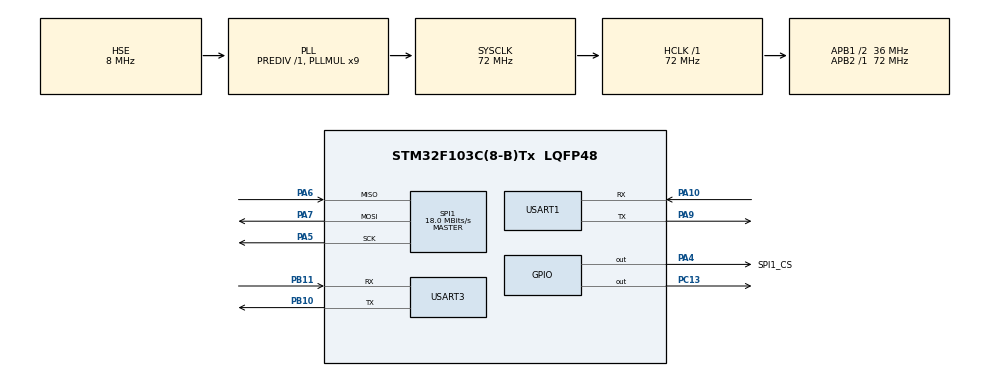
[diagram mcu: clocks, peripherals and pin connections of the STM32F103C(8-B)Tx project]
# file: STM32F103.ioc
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Dma.Request0=USART1_RX
Dma.Request1=USART3_RX
Dma.Request2=USART3_TX
Dma.USART1_RX.0.Direction=DMA_PERIPH_TO_MEMORY
Dma.USART1_RX.0.Instance=DMA1_Channel5
Dma.USART1_RX.0.MemDataAlignment=DMA_MDATAALIGN_BYTE
Dma.USART1_RX.0.MemInc=DMA_MINC_ENABLE
Dma.USART1_RX.0.Mode=DMA_NORMAL
Dma.USART1_RX.0.PeriphDataAlignment=DMA_PDATAALIGN_BYTE
Dma.USART1_RX.0.PeriphInc=DMA_PINC_DISABLE
Dma.USART1_RX.0.Priority=DMA_PRIORITY_HIGH
Dma.USART3_RX.1.Direction=DMA_PERIPH_TO_MEMORY
Dma.USART3_RX.1.Instance=DMA1_Channel3
Dma.USART3_RX.1.MemDataAlignment=DMA_MDATAALIGN_BYTE
Dma.USART3_RX.1.MemInc=DMA_MINC_ENABLE
Dma.USART3_RX.1.Mode=DMA_NORMAL
Dma.USART3_RX.1.PeriphDataAlignment=DMA_PDATAALIGN_BYTE
Dma.USART3_RX.1.PeriphInc=DMA_PINC_DISABLE
Dma.USART3_RX.1.Priority=DMA_PRIORITY_LOW
Dma.USART3_TX.2.Direction=DMA_MEMORY_TO_PERIPH
Dma.USART3_TX.2.Instance=DMA1_Channel2
Dma.USART3_TX.2.MemDataAlignment=DMA_MDATAALIGN_BYTE
Dma.USART3_TX.2.MemInc=DMA_MINC_ENABLE
Dma.USART3_TX.2.Mode=DMA_NORMAL
Dma.USART3_TX.2.PeriphDataAlignment=DMA_PDATAALIGN_BYTE
Dma.USART3_TX.2.PeriphInc=DMA_PINC_DISABLE
Dma.USART3_TX.2.Priority=DMA_PRIORITY_LOW
Mcu.Family=STM32F1
Mcu.Name=STM32F103C(8-B)Tx
Mcu.Package=LQFP48
NVIC.DMA1_Channel2_IRQn=true\:0\:0\:false\:false\:true\:false\:true
NVIC.DMA1_Channel3_IRQn=true\:0\:0\:false\:false\:true\:false\:true
NVIC.DMA1_Channel5_IRQn=true\:0\:0\:false\:false\:true\:false\:true
NVIC.PriorityGroup=NVIC_PRIORITYGROUP_4
NVIC.TIM3_IRQn=true\:3\:0\:true\:false\:true\:true\:true
NVIC.USART1_IRQn=true\:0\:0\:false\:false\:true\:true\:true
NVIC.USART3_IRQn=true\:2\:0\:true\:false\:true\:true\:true
PA10.GPIO_PuPd=GPIO_NOPULL
PA10.Mode=Asynchronous
PA10.Signal=USART1_RX
PA13.Mode=Serial_Wire
PA13.Signal=SYS_JTMS-SWDIO
PA14.Mode=Serial_Wire
PA14.Signal=SYS_JTCK-SWCLK
PA4.GPIO_Label=SPI1_CS
PA4.GPIO_Speed=GPIO_SPEED_FREQ_HIGH
PA4.Signal=GPIO_Output
PA5.Mode=Full_Duplex_Master
PA5.Signal=SPI1_SCK
PA6.Mode=Full_Duplex_Master
PA6.Signal=SPI1_MISO
PA7.Mode=Full_Duplex_Master
PA7.Signal=SPI1_MOSI
PA9.Mode=Asynchronous
PA9.Signal=USART1_TX
PB10.Mode=Asynchronous
PB10.Signal=USART3_TX
PB11.GPIO_PuPd=GPIO_NOPULL
PB11.Mode=Asynchronous
PB11.Signal=USART3_RX
PC13-TAMPER-RTC.Signal=GPIO_Output
PD0-OSC_IN.Mode=HSE-External-Oscillator
PD0-OSC_IN.Signal=RCC_OSC_IN
PD1-OSC_OUT.Mode=HSE-External-Oscillator
PD1-OSC_OUT.Signal=RCC_OSC_OUT
ProjectManager.HeapSize=0x800
ProjectManager.StackSize=0x800
ProjectManager.TargetToolchain=MDK-ARM V5.27
RCC.AHBFreq_Value=72000000
RCC.APB1CLKDivider=RCC_HCLK_DIV2
RCC.APB1Freq_Value=36000000
RCC.APB1TimFreq_Value=72000000
RCC.APB2Freq_Value=72000000
RCC.APB2TimFreq_Value=72000000
RCC.HCLKFreq_Value=72000000
RCC.PLLMUL=RCC_PLL_MUL9
RCC.PLLSourceVirtual=RCC_PLLSOURCE_HSE
RCC.SYSCLKFreq_VALUE=72000000
RCC.SYSCLKSource=RCC_SYSCLKSOURCE_PLLCLK
RCC.USBFreq_Value=48000000
RCC.USBPrescaler=RCC_USBCLKSOURCE_PLL_DIV1_5
SPI1.BaudRatePrescaler=SPI_BAUDRATEPRESCALER_4
SPI1.CLKPhase=SPI_PHASE_2EDGE
SPI1.CLKPolarity=SPI_POLARITY_HIGH
SPI1.CalculateBaudRate=18.0 MBits/s
SPI1.Direction=SPI_DIRECTION_2LINES
SPI1.Mode=SPI_MODE_MASTER
SPI1.VirtualType=VM_MASTER
TIM3.AutoReloadPreload=TIM_AUTORELOAD_PRELOAD_ENABLE
TIM3.Period=999
TIM3.Prescaler=143
USART1.VirtualMode=VM_ASYNC
USART3.VirtualMode=VM_ASYNC
VP_TIM3_VS_ClockSourceINT.Mode=Internal
board=custom

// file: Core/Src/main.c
/* USER CODE BEGIN Header */
/**
  ******************************************************************************
  * @file           : main.c
  * @brief          : Main program body
  ******************************************************************************
  * @attention
  *
  * <h2><center>&copy; Copyright (c) 2020 STMicroelectronics.
  * All rights reserved.</center></h2>
  *
  * This software component is licensed by ST under BSD 3-Clause license,
  * the "License"; You may not use this file except in compliance with the
  * License. You may obtain a copy of the License at:
  *                        opensource.org/licenses/BSD-3-Clause
  *
  ******************************************************************************
  */
/* USER CODE END Header */
#include "main.h"

/* USER CODE BEGIN PM */
uint8_t rx_buff[200];
_st_Mpu icm_data;
_st_AngE icm_angle;

/* USER CODE END PM */

SPI_HandleTypeDef hspi1;

TIM_HandleTypeDef htim3;

UART_HandleTypeDef huart1;
UART_HandleTypeDef huart3;
DMA_HandleTypeDef hdma_usart1_rx;
DMA_HandleTypeDef hdma_usart3_rx;
DMA_HandleTypeDef hdma_usart3_tx;

void SystemClock_Config(void);
static void MX_GPIO_Init(void);
static void MX_DMA_Init(void);
static void MX_SPI1_Init(void);
static void MX_USART1_UART_Init(void);
static void MX_TIM3_Init(void);
static void MX_USART3_UART_Init(void);

/* USER CODE BEGIN 0 */
int fputc(int ch, FILE *f)
{
  HAL_UART_Transmit(&huart1, (uint8_t *)&ch, 1, 0xffff);
  return ch;
}

void HAL_TIM_PeriodElapsedCallback(TIM_HandleTypeDef *htim)
{
	if(htim->Instance == htim3.Instance)
	{
		ICM_Get_Raw_data(&icm_data.accX,&icm_data.accY,&icm_data.accZ,&icm_data.gyroX,&icm_data.gyroY,&icm_data.gyroZ);
		GetAngle(&icm_data,&icm_angle, 0.05);
	}
}

/* USER CODE END 0 */

int main(void)
{

  /* MCU Configuration--------------------------------------------------------*/

  /* Reset of all peripherals, Initializes the Flash interface and the Systick. */
  HAL_Init();

  /* Configure the system clock */
  SystemClock_Config();

  /* Initialize all configured peripherals */
  MX_GPIO_Init();
  MX_DMA_Init();
  MX_SPI1_Init();
  MX_USART1_UART_Init();
  MX_TIM3_Init();
  MX_USART3_UART_Init();
  /* USER CODE BEGIN 2 */
	//串口空闲中断
	__HAL_UART_ENABLE_IT(&huart1, UART_IT_IDLE);
	HAL_UART_Receive_DMA(&huart1, rx_buff, 200);
	//定时器3
	HAL_TIM_Base_Start_IT(&htim3);
	//icm20602初始化
	ICM20602_Init();

  /* USER CODE END 2 */

  /* Infinite loop */
  /* USER CODE BEGIN WHILE */
  while (1)
  {
		//printf("ax: %d,ay: %d,az: %d\r\n",icm_data.accX,icm_data.accY,icm_data.accZ);
		//printf("gx: %d,gy: %d,gz: %d\r\n",icm_data.gyroX,icm_data.gyroY,icm_data.gyroZ);
		printf("pitch: %f,roll: %f,yaw: %f\r\n",icm_angle.pitch, icm_angle.roll, icm_angle.yaw);
		HAL_Delay(1000);
    /* USER CODE END WHILE */

  }
}

void SystemClock_Config(void)
{
  RCC_OscInitTypeDef RCC_OscInitStruct = {0};
  RCC_ClkInitTypeDef RCC_ClkInitStruct = {0};

  /** Initializes the RCC Oscillators according to the specified parameters
  * in the RCC_OscInitTypeDef structure.
  */
  RCC_OscInitStruct.OscillatorType = RCC_OSCILLATORTYPE_HSE;
  RCC_OscInitStruct.HSEState = RCC_HSE_ON;
  RCC_OscInitStruct.HSEPredivValue = RCC_HSE_PREDIV_DIV1;
  RCC_OscInitStruct.HSIState = RCC_HSI_ON;
  RCC_OscInitStruct.PLL.PLLState = RCC_PLL_ON;
  RCC_OscInitStruct.PLL.PLLSource = RCC_PLLSOURCE_HSE;
  RCC_OscInitStruct.PLL.PLLMUL = RCC_PLL_MUL9;
  if (HAL_RCC_OscConfig(&RCC_OscInitStruct) != HAL_OK)
  {
    Error_Handler();
  }
  /** Initializes the CPU, AHB and APB buses clocks
  */
  RCC_ClkInitStruct.ClockType = RCC_CLOCKTYPE_HCLK|RCC_CLOCKTYPE_SYSCLK
                              |RCC_CLOCKTYPE_PCLK1|RCC_CLOCKTYPE_PCLK2;
  RCC_ClkInitStruct.SYSCLKSource = RCC_SYSCLKSOURCE_PLLCLK;
  RCC_ClkInitStruct.AHBCLKDivider = RCC_SYSCLK_DIV1;
  RCC_ClkInitStruct.APB1CLKDivider = RCC_HCLK_DIV2;
  RCC_ClkInitStruct.APB2CLKDivider = RCC_HCLK_DIV1;

  if (HAL_RCC_ClockConfig(&RCC_ClkInitStruct, FLASH_LATENCY_2) != HAL_OK)
  {
    Error_Handler();
  }
}

static void MX_SPI1_Init(void)
{

  /* SPI1 parameter configuration*/
  hspi1.Instance = SPI1;
  hspi1.Init.Mode = SPI_MODE_MASTER;
  hspi1.Init.Direction = SPI_DIRECTION_2LINES;
  hspi1.Init.DataSize = SPI_DATASIZE_8BIT;
  hspi1.Init.CLKPolarity = SPI_POLARITY_HIGH;
  hspi1.Init.CLKPhase = SPI_PHASE_2EDGE;
  hspi1.Init.NSS = SPI_NSS_SOFT;
  hspi1.Init.BaudRatePrescaler = SPI_BAUDRATEPRESCALER_4;
  hspi1.Init.FirstBit = SPI_FIRSTBIT_MSB;
  hspi1.Init.TIMode = SPI_TIMODE_DISABLE;
  hspi1.Init.CRCCalculation = SPI_CRCCALCULATION_DISABLE;
  hspi1.Init.CRCPolynomial = 10;
  if (HAL_SPI_Init(&hspi1) != HAL_OK)
  {
    Error_Handler();
  }

}

static void MX_TIM3_Init(void)
{

  TIM_ClockConfigTypeDef sClockSourceConfig = {0};
  TIM_MasterConfigTypeDef sMasterConfig = {0};

  htim3.Instance = TIM3;
  htim3.Init.Prescaler = 143;
  htim3.Init.CounterMode = TIM_COUNTERMODE_UP;
  htim3.Init.Period = 999;
  htim3.Init.ClockDivision = TIM_CLOCKDIVISION_DIV1;
  htim3.Init.AutoReloadPreload = TIM_AUTORELOAD_PRELOAD_ENABLE;
  if (HAL_TIM_Base_Init(&htim3) != HAL_OK)
  {
    Error_Handler();
  }
  sClockSourceConfig.ClockSource = TIM_CLOCKSOURCE_INTERNAL;
  if (HAL_TIM_ConfigClockSource(&htim3, &sClockSourceConfig) != HAL_OK)
  {
    Error_Handler();
  }
  sMasterConfig.MasterOutputTrigger = TIM_TRGO_RESET;
  sMasterConfig.MasterSlaveMode = TIM_MASTERSLAVEMODE_DISABLE;
  if (HAL_TIMEx_MasterConfigSynchronization(&htim3, &sMasterConfig) != HAL_OK)
  {
    Error_Handler();
  }

}

static void MX_USART1_UART_Init(void)
{

  huart1.Instance = USART1;
  huart1.Init.BaudRate = 115200;
  huart1.Init.WordLength = UART_WORDLENGTH_8B;
  huart1.Init.StopBits = UART_STOPBITS_1;
  huart1.Init.Parity = UART_PARITY_NONE;
  huart1.Init.Mode = UART_MODE_TX_RX;
  huart1.Init.HwFlowCtl = UART_HWCONTROL_NONE;
  huart1.Init.OverSampling = UART_OVERSAMPLING_16;
  if (HAL_UART_Init(&huart1) != HAL_OK)
  {
    Error_Handler();
  }

}

static void MX_USART3_UART_Init(void)
{

  huart3.Instance = USART3;
  huart3.Init.BaudRate = 115200;
  huart3.Init.WordLength = UART_WORDLENGTH_8B;
  huart3.Init.StopBits = UART_STOPBITS_1;
  huart3.Init.Parity = UART_PARITY_NONE;
  huart3.Init.Mode = UART_MODE_TX_RX;
  huart3.Init.HwFlowCtl = UART_HWCONTROL_NONE;
  huart3.Init.OverSampling = UART_OVERSAMPLING_16;
  if (HAL_UART_Init(&huart3) != HAL_OK)
  {
    Error_Handler();
  }

}

static void MX_DMA_Init(void)
{

  /* DMA controller clock enable */
  __HAL_RCC_DMA1_CLK_ENABLE();

  /* DMA interrupt init */
  /* DMA1_Channel2_IRQn interrupt configuration */
  HAL_NVIC_SetPriority(DMA1_Channel2_IRQn, 0, 0);
  HAL_NVIC_EnableIRQ(DMA1_Channel2_IRQn);
  /* DMA1_Channel3_IRQn interrupt configuration */
  HAL_NVIC_SetPriority(DMA1_Channel3_IRQn, 0, 0);
  HAL_NVIC_EnableIRQ(DMA1_Channel3_IRQn);
  /* DMA1_Channel5_IRQn interrupt configuration */
  HAL_NVIC_SetPriority(DMA1_Channel5_IRQn, 0, 0);
  HAL_NVIC_EnableIRQ(DMA1_Channel5_IRQn);

}

static void MX_GPIO_Init(void)
{
  GPIO_InitTypeDef GPIO_InitStruct = {0};

  /* GPIO Ports Clock Enable */
  __HAL_RCC_GPIOC_CLK_ENABLE();
  __HAL_RCC_GPIOD_CLK_ENABLE();
  __HAL_RCC_GPIOA_CLK_ENABLE();
  __HAL_RCC_GPIOB_CLK_ENABLE();

  /*Configure GPIO pin Output Level */
  HAL_GPIO_WritePin(GPIOC, GPIO_PIN_13, GPIO_PIN_RESET);

  /*Configure GPIO pin Output Level */
  HAL_GPIO_WritePin(SPI1_CS_GPIO_Port, SPI1_CS_Pin, GPIO_PIN_RESET);

  /*Configure GPIO pin : PC13 */
  GPIO_InitStruct.Pin = GPIO_PIN_13;
  GPIO_InitStruct.Mode = GPIO_MODE_OUTPUT_PP;
  GPIO_InitStruct.Pull = GPIO_NOPULL;
  GPIO_InitStruct.Speed = GPIO_SPEED_FREQ_LOW;
  HAL_GPIO_Init(GPIOC, &GPIO_InitStruct);

  /*Configure GPIO pin : SPI1_CS_Pin */
  GPIO_InitStruct.Pin = SPI1_CS_Pin;
  GPIO_InitStruct.Mode = GPIO_MODE_OUTPUT_PP;
  GPIO_InitStruct.Pull = GPIO_NOPULL;
  GPIO_InitStruct.Speed = GPIO_SPEED_FREQ_HIGH;
  HAL_GPIO_Init(SPI1_CS_GPIO_Port, &GPIO_InitStruct);

}

void Error_Handler(void)
{
}

/************************ (C) COPYRIGHT STMicroelectronics *****END OF FILE****/
